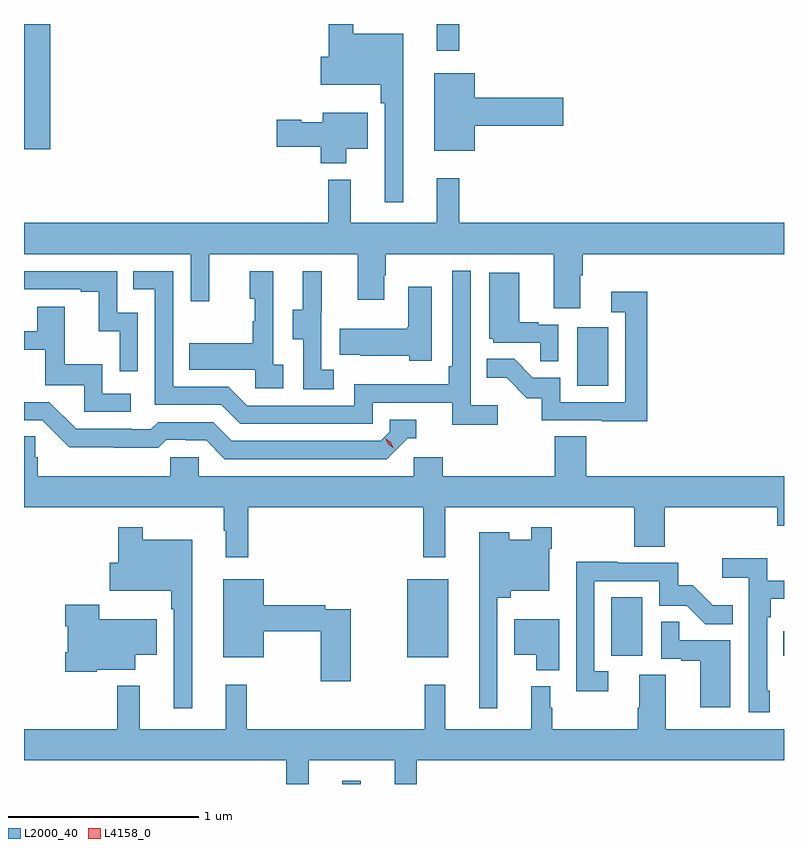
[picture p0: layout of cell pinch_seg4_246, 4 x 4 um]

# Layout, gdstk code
import gdstk
lib = gdstk.Library(unit=1e-6, precision=1e-09)
def R(c, l, rs):  # rectangles x0, y0, x1, y1
    for r in rs: c.add(gdstk.rectangle(r[:2], r[2:], *l))
def P(c, l, *ps):  # polygons
    for p in ps: c.add(gdstk.Polygon(p, *l))
L2000_40 = (2000, 40)
L4158_0 = (4158, 0)

pinch_seg4_246 = lib.new_cell('pinch_seg4_246')
R(pinch_seg4_246, L2000_40, [(899.391,824.667,899.488,824.683), (899.732,825.335,899.947,825.745), (900.806,825.342,900.97,825.649), (901.711,825.343,901.715,825.472), (900.626,826.764,900.79,827.071), (897.715,828.009,897.854,828.667)])
P(pinch_seg4_246, L2000_40, [(900.005,828.667),(899.877,828.667),(899.877,828.665),(899.888,828.665),(899.888,828.525),(900.005,828.525)],
  [(899.71,828.616),(899.449,828.616),(899.449,828.667),(899.32,828.667),(899.32,828.495),(899.276,828.495),(899.276,828.347),(899.593,828.347),(899.593,828.251),(899.613,828.251),(899.613,827.73),(899.71,827.73)],
  [(900.088,828.131),(900.553,828.131),(900.553,828.278),(900.088,828.278),(900.088,828.409),(899.873,828.409),(899.873,827.999),(900.088,827.999)],
  [(899.41,828.011),(899.524,828.011),(899.524,828.199),(899.288,828.199),(899.288,828.151),(899.175,828.151),(899.175,828.164),(899.046,828.164),(899.046,828.022),(899.276,828.022),(899.276,827.933),(899.41,827.933)],
  [(900.643,827.344),(900.656,827.344),(900.656,827.456),(901.715,827.456),(901.715,827.62),(900.005,827.62),(900.005,827.854),(899.888,827.854),(899.888,827.62),(899.435,827.62),(899.435,827.848),(899.317,827.848),(899.317,827.62),(897.715,827.62),(897.715,827.456),(898.593,827.456),(898.593,827.208),(898.691,827.208),(898.691,827.456),(899.471,827.456),(899.471,827.217),(899.611,827.217),(899.611,827.345),(899.619,827.345),(899.619,827.456),(900.503,827.456),(900.503,827.17),(900.643,827.17)],
  [(900.208,826.66),(900.066,826.66),(900.066,827.368),(899.97,827.368),(899.97,826.867),(899.95,826.867),(899.95,826.77),(899.454,826.77),(899.454,826.659),(898.89,826.659),(898.791,826.758),(898.5,826.758),(898.5,827.367),(898.291,827.367),(898.291,827.271),(898.404,827.271),(898.404,826.662),(898.754,826.662),(898.853,826.563),(899.55,826.563),(899.55,826.674),(899.969,826.674),(899.969,826.558),(900.208,826.558)],
  [(898.314,827.148),(898.206,827.148),(898.206,827.367),(897.715,827.367),(897.715,827.271),(898.013,827.271),(898.013,827.259),(898.109,827.259),(898.109,827.051),(898.218,827.051),(898.218,826.839),(898.314,826.839)],
  [(899.344,826.847),(899.28,826.847),(899.28,827.151),(899.282,827.151),(899.282,827.365),(899.183,827.365),(899.183,827.163),(899.129,827.163),(899.129,827.008),(899.184,827.008),(899.184,826.744),(899.344,826.744)],
  [(899.08,826.874),(899.028,826.874),(899.028,827.365),(898.904,827.365),(898.904,827.22),(898.93,827.22),(898.93,827.102),(898.92,827.102),(898.92,826.987),(898.585,826.987),(898.585,826.847),(898.932,826.847),(898.932,826.749),(899.08,826.749)],
  [(900.528,827.085),(900.422,827.085),(900.422,827.098),(900.322,827.098),(900.322,827.359),(900.164,827.359),(900.164,827.01),(900.186,827.01),(900.186,826.989),(900.433,826.989),(900.433,826.891),(900.528,826.891)],
  [(899.86,827.284),(899.738,827.284),(899.738,827.07),(899.731,827.07),(899.731,827.062),(899.377,827.062),(899.377,826.925),(899.485,826.925),(899.485,826.922),(899.742,826.922),(899.742,826.895),(899.86,826.895)],
  [(900.995,827.257),(900.807,827.257),(900.807,827.151),(900.879,827.151),(900.879,826.677),(900.537,826.677),(900.537,826.806),(900.393,826.806),(900.295,826.904),(900.151,826.904),(900.151,826.805),(900.255,826.805),(900.362,826.698),(900.439,826.698),(900.439,826.581),(900.757,826.581),(900.757,826.576),(900.995,826.576)],
  [(898.276,826.722),(898.128,826.722),(898.128,826.876),(897.929,826.876),(897.929,827.179),(897.785,827.179),(897.785,827.049),(897.715,827.049),(897.715,826.953),(897.827,826.953),(897.827,826.767),(898.032,826.767),(898.032,826.626),(898.276,826.626)],
  [(899.736,826.488),(899.779,826.488),(899.779,826.584),(899.64,826.584),(899.64,826.521),(899.592,826.473),(898.809,826.473),(898.71,826.572),(898.421,826.572),(898.382,826.533),(898.283,826.533),(898.283,826.536),(897.99,826.536),(897.849,826.677),(897.715,826.677),(897.715,826.581),(897.81,826.581),(897.952,826.439),(898.188,826.439),(898.188,826.437),(898.421,826.437),(898.463,826.479),(898.566,826.479),(898.566,826.476),(898.673,826.476),(898.772,826.377),(899.625,826.377)],
  [(898.895,826.124),(899.815,826.124),(899.815,825.861),(899.932,825.861),(899.932,826.124),(900.928,826.124),(900.928,825.916),(901.088,825.916),(901.088,826.124),(901.679,826.124),(901.679,826.026),(901.715,826.026),(901.715,826.288),(900.674,826.288),(900.674,826.496),(900.509,826.496),(900.509,826.288),(899.918,826.288),(899.918,826.386),(899.766,826.386),(899.766,826.288),(898.635,826.288),(898.635,826.386),(898.485,826.386),(898.485,826.288),(897.788,826.288),(897.788,826.386),(897.773,826.386),(897.773,826.496),(897.715,826.496),(897.715,826.124),(898.767,826.124),(898.767,826.001),(898.778,826.001),(898.778,825.861),(898.895,825.861)],
  [(900.207,825.647),(900.276,825.647),(900.276,825.683),(900.48,825.683),(900.48,825.905),(900.493,825.905),(900.493,826.018),(900.384,826.018),(900.384,825.952),(900.268,825.952),(900.268,825.991),(900.11,825.991),(900.11,825.066),(900.207,825.066)],
  [(898.6,825.952),(898.339,825.952),(898.339,826.018),(898.21,826.018),(898.21,825.831),(898.166,825.831),(898.166,825.683),(898.491,825.683),(898.491,825.587),(898.503,825.587),(898.503,825.066),(898.6,825.066)],
  [(901.639,825.157),(901.626,825.157),(901.626,825.545),(901.646,825.545),(901.646,825.641),(901.715,825.641),(901.715,825.738),(901.628,825.738),(901.628,825.854),(901.389,825.854),(901.389,825.752),(901.53,825.752),(901.53,825.045),(901.639,825.045)],
  [(900.79,825.261),(900.717,825.261),(900.717,825.735),(901.059,825.735),(901.059,825.606),(901.203,825.606),(901.301,825.508),(901.445,825.508),(901.445,825.607),(901.341,825.607),(901.234,825.714),(901.158,825.714),(901.158,825.831),(900.839,825.831),(900.839,825.836),(900.621,825.836),(900.621,825.156),(900.79,825.156)],
  [(899.434,825.588),(899.3,825.588),(899.3,825.608),(898.978,825.608),(898.978,825.745),(898.763,825.745),(898.763,825.335),(898.978,825.335),(898.978,825.472),(899.276,825.472),(899.276,825.207),(899.434,825.207)],
  [(898.098,825.269),(898.3,825.269),(898.3,825.347),(898.414,825.347),(898.414,825.535),(898.11,825.535),(898.11,825.61),(897.932,825.61),(897.932,825.497),(897.944,825.497),(897.944,825.361),(897.932,825.361),(897.932,825.257),(898.098,825.257)],
  [(900.532,825.535),(900.296,825.535),(900.296,825.347),(900.41,825.347),(900.41,825.266),(900.532,825.266)],
  [(901.432,825.423),(901.163,825.423),(901.163,825.521),(901.068,825.521),(901.068,825.327),(901.175,825.327),(901.175,825.315),(901.274,825.315),(901.274,825.072),(901.432,825.072)],
  [(899.213,824.792),(899.666,824.792),(899.666,824.667),(899.783,824.667),(899.783,824.792),(901.715,824.792),(901.715,824.956),(901.093,824.956),(901.093,825.242),(900.953,825.242),(900.953,825.068),(900.946,825.068),(900.946,824.956),(900.496,824.956),(900.496,825.068),(900.484,825.068),(900.484,825.181),(900.386,825.181),(900.386,824.956),(899.933,824.956),(899.933,825.19),(899.823,825.19),(899.823,824.956),(898.888,824.956),(898.888,825.19),(898.778,825.19),(898.778,824.956),(898.325,824.956),(898.325,825.184),(898.207,825.184),(898.207,824.956),(897.715,824.956),(897.715,824.792),(899.095,824.792),(899.095,824.667),(899.213,824.667)])
P(pinch_seg4_246, L4158_0, [(899.661,826.434),(899.631,826.454),(899.616,826.487),(899.616,826.487),(899.616,826.487),(899.646,826.467),(899.662,826.434),(899.662,826.434)])

lib.write_gds('pinch_seg4_246.gds')
